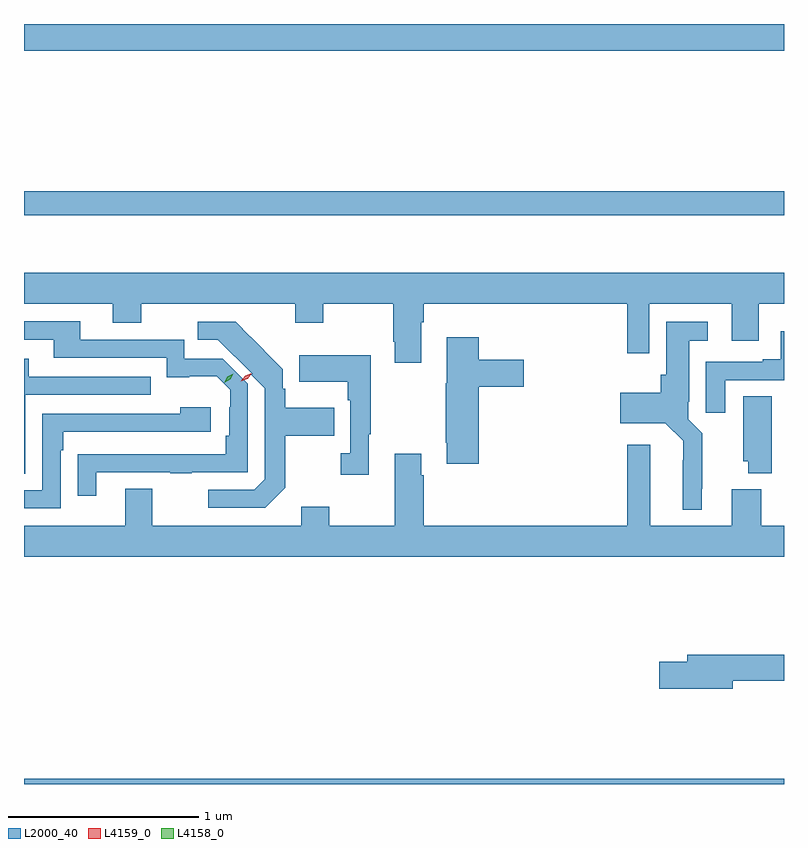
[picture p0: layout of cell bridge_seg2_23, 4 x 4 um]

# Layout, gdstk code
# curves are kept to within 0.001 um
import gdstk
lib = gdstk.Library(unit=1e-6, precision=1e-09)
def R(c, l, rs):  # rectangles x0, y0, x1, y1
    for r in rs: c.add(gdstk.rectangle(r[:2], r[2:], *l))
def P(c, l, *ps):  # polygons
    for p in ps: c.add(gdstk.Polygon(p, *l))
L2000_40 = (2000, 40)
L4158_0 = (4158, 0)
L4159_0 = (4159, 0)

bridge_seg2_23 = lib.new_cell('bridge_seg2_23')
R(bridge_seg2_23, L2000_40, [(733.421,614.473,737.421,614.5), (733.421,617.466,737.421,617.594), (733.421,618.332,737.421,618.473)])
P(bridge_seg2_23, L2000_40, [(735.511,616.904),(735.524,616.904),(735.524,617),(736.597,617),(736.597,616.74),(736.713,616.74),(736.713,617),(737.147,617),(737.147,616.806),(737.287,616.806),(737.287,617),(737.421,617),(737.421,617.164),(733.421,617.164),(733.421,617),(733.889,617),(733.889,616.901),(734.037,616.901),(734.037,617),(734.849,617),(734.849,616.901),(734.997,616.901),(734.997,617),(735.364,617),(735.364,616.801),(735.371,616.801),(735.371,616.689),(735.511,616.689)],
  [(733.801,616.113),(734.191,616.113),(734.191,616.108),(734.303,616.108),(734.303,616.113),(734.598,616.113),(734.598,616.579),(734.467,616.71),(734.264,616.71),(734.264,616.812),(733.717,616.812),(733.717,616.908),(733.421,616.908),(733.421,616.812),(733.577,616.812),(733.577,616.716),(734.172,616.716),(734.172,616.613),(734.291,616.613),(734.291,616.618),(734.435,616.618),(734.506,616.547),(734.506,616.457),(734.502,616.457),(734.502,616.306),(734.482,616.306),(734.482,616.209),(733.705,616.208),(733.705,615.99),(733.801,615.99)],
  [(736.987,616.027),(736.991,616.027),(736.991,616.318),(736.917,616.392),(736.917,616.486),(736.921,616.486),(736.921,616.805),(737.02,616.805),(737.02,616.906),(736.802,616.906),(736.802,616.626),(736.772,616.626),(736.772,616.531),(736.56,616.531),(736.56,616.373),(736.797,616.373),(736.89,616.28),(736.889,615.917),(736.987,615.917)],
  [(734.797,616.033),(734.797,616.306),(735.053,616.306),(735.053,616.453),(734.796,616.453),(734.796,616.553),(734.784,616.553),(734.784,616.655),(734.683,616.756),(734.685,616.757),(734.614,616.828),(734.613,616.827),(734.535,616.905),(734.336,616.905),(734.336,616.812),(734.44,616.812),(734.621,616.631),(734.617,616.627),(734.688,616.556),(734.688,616.077),(734.634,616.023),(734.391,616.023),(734.391,615.927),(734.691,615.927)],
  [(737.113,616.599),(737.421,616.599),(737.421,616.855),(737.405,616.855),(737.405,616.708),(737.309,616.708),(737.309,616.695),(737.009,616.695),(737.009,616.428),(737.113,616.428)],
  [(735.815,616.565),(736.051,616.565),(736.051,616.707),(735.815,616.707),(735.815,616.825),(735.647,616.825),(735.647,616.581),(735.64,616.581),(735.64,616.27),(735.647,616.27),(735.647,616.158),(735.815,616.158)],
  [(735.235,616.313),(735.247,616.313),(735.247,616.729),(734.869,616.729),(734.869,616.589),(735.126,616.589),(735.126,616.493),(735.138,616.493),(735.138,616.214),(735.087,616.214),(735.087,616.101),(735.235,616.101)],
  [(733.428,616.521),(734.087,616.521),(734.087,616.617),(733.447,616.617),(733.447,616.711),(733.421,616.711),(733.421,616.105),(733.428,616.105)],
  [(737.356,616.514),(737.207,616.514),(737.207,616.173),(737.234,616.173),(737.234,616.109),(737.356,616.109)],
  [(733.614,616.229),(733.627,616.229),(733.627,616.326),(734.404,616.326),(734.404,616.456),(734.243,616.456),(734.243,616.422),(733.518,616.422),(733.518,616.02),(733.421,616.02),(733.421,615.924),(733.614,615.924)],
  [(737.421,615.832),(737.3,615.832),(737.3,616.024),(737.147,616.024),(737.147,615.832),(736.717,615.832),(736.717,616.258),(736.595,616.258),(736.595,615.832),(735.524,615.832),(735.524,616.097),(735.511,616.097),(735.511,616.21),(735.371,616.21),(735.371,615.832),(735.027,615.832),(735.027,615.931),(734.879,615.931),(734.879,615.832),(734.095,615.832),(734.095,616.027),(733.955,616.027),(733.955,615.832),(733.421,615.832),(733.421,615.668),(737.421,615.668)],
  [(737.152,615.016),(737.421,615.016),(737.421,615.152),(736.913,615.152),(736.913,615.116),(736.764,615.116),(736.764,614.974),(737.152,614.974)])
P(bridge_seg2_23, L4158_0, [(734.476,616.586),(734.476,616.586),(734.492,616.616),(734.523,616.632),(734.523,616.632),(734.523,616.631),(734.506,616.602),(734.476,616.586)])
P(bridge_seg2_23, L4159_0, [(734.563,616.592),(734.563,616.592),(734.585,616.622),(734.62,616.635),(734.62,616.635),(734.62,616.635),(734.598,616.605),(734.563,616.592)])

lib.write_gds('bridge_seg2_23.gds')
